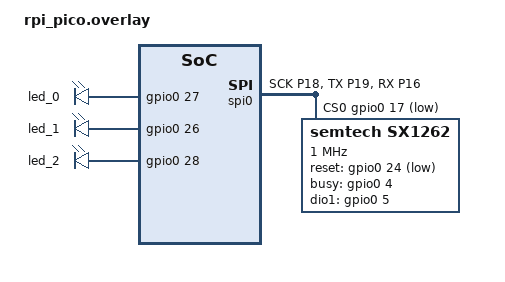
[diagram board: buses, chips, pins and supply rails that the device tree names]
/ {
    aliases {
        lora0 = &sx1262;
        led0 = &led_0;
        led1 = &led_1;
        led2 = &led_2;
    };

    leds {
        compatible = "gpio-leds";
        led_0: led0 {
            gpios = <&gpio0 27 GPIO_ACTIVE_HIGH>;
        };
        led_1: led1 {
            gpios = <&gpio0 26 GPIO_ACTIVE_HIGH>;
        };
        led_2: led2 {
            gpios = <&gpio0 28 GPIO_ACTIVE_HIGH>;
        };
    };
};

/* Enable and configure SPI for SX1262 */
&spi0 {
    status = "okay";
    pinctrl-0 = <&spi0_default>;
    pinctrl-names = "default";
    cs-gpios = <&gpio0 17 GPIO_ACTIVE_LOW>;

    sx1262: sx1262@0 {
        compatible = "semtech,sx1262";
        reg = <0>;
        spi-max-frequency = <1000000>;

        reset-gpios = <&gpio0 24 GPIO_ACTIVE_LOW>;
        busy-gpios = <&gpio0 4 GPIO_ACTIVE_HIGH>;
        dio1-gpios = <&gpio0 5 GPIO_ACTIVE_HIGH>;
    };
};

&pinctrl {
    spi0_default: spi0_default {
        group1 {
            pinmux = <SPI0_SCK_P18>, <SPI0_TX_P19>;
        };
        group2 {
            pinmux = <SPI0_RX_P16>;
            input-enable;
        };
    };
};
